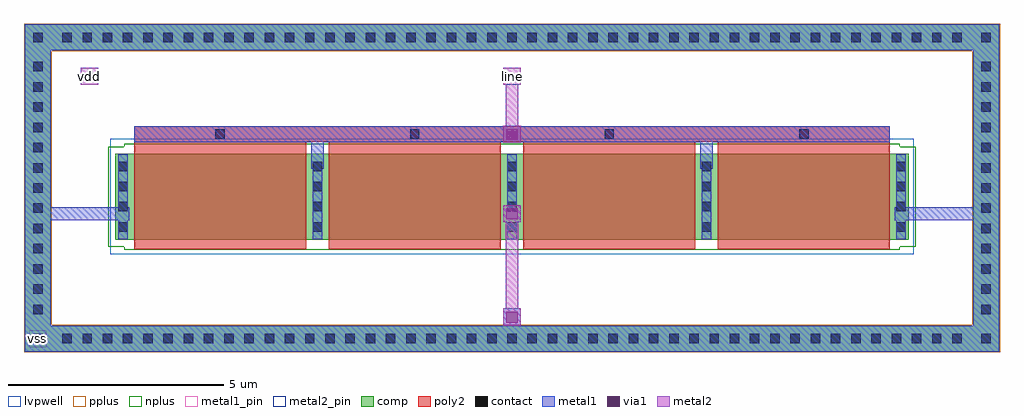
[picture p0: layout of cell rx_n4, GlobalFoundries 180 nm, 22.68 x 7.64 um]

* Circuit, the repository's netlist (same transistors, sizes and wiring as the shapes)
* NGSPICE file created from rx_n4.ext - technology: gf180mcuD

.subckt n_w2_l4_f4 a_n52_n200# a_852_n200# a_n852_n244# a_n956_n200# a_52_n244# a_n1756_n244#
+ a_1756_n200# a_n1844_n200# a_956_n244# VSUBS
X0 a_852_n200# a_52_n244# a_n52_n200# VSUBS nfet_03v3 ad=0.52p pd=2.52u as=0.52p ps=2.52u w=2u l=4u
X1 a_1756_n200# a_956_n244# a_852_n200# VSUBS nfet_03v3 ad=0.88p pd=4.88u as=0.52p ps=2.52u w=2u l=4u
X2 a_n956_n200# a_n1756_n244# a_n1844_n200# VSUBS nfet_03v3 ad=0.52p pd=2.52u as=0.88p ps=4.88u w=2u l=4u
X3 a_n52_n200# a_n852_n244# a_n956_n200# VSUBS nfet_03v3 ad=0.52p pd=2.52u as=0.52p ps=2.52u w=2u l=4u
.ends

.subckt rx_n4 line vdd vss
XD vss line line line line line vss vss line vss n_w2_l4_f4
.ends

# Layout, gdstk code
import gdstk
lib = gdstk.Library(unit=1e-6, precision=1e-09)
def R(c, l, rs):  # rectangles x0, y0, x1, y1
    for r in rs: c.add(gdstk.rectangle(r[:2], r[2:], *l))
def A(c, l, x, y, w, h, nx, ny, dx, dy):  # array of equal rectangles
    R(c, l, [(x+i*dx, y+j*dy, x+i*dx+w, y+j*dy+h) for i in range(nx) for j in range(ny)])
comp = (22, 0)
poly2 = (30, 0)
pplus = (31, 0)
nplus = (32, 0)
contact = (33, 0)
metal1 = (34, 0)
metal1_pin = (34, 10)
via1 = (35, 0)
metal2 = (36, 0)
metal2_pin = (36, 10)
lvpwell = (204, 0)

n_w2_l4_f4 = lib.new_cell('n_w2_l4_f4')
R(n_w2_l4_f4, comp, [(-9.22,-1,9.22,1)])
A(n_w2_l4_f4, poly2, -8.78, -1.22, 4, 2.44, 4, 1, 4.52, 0)
R(n_w2_l4_f4, nplus, [(-9.01,-1.23,9.01,-1.16), (-9.38,-1.16,9.38,1.16), (-9.01,1.16,9.01,1.23)])
A(n_w2_l4_f4, contact, -9.15, -0.815, 0.22, 0.22, 5, 4, 4.52, 0.47)
A(n_w2_l4_f4, metal1, -9.155, -0.99, 0.23, 1.98, 5, 1, 4.52, 0)
R(n_w2_l4_f4, lvpwell, [(-9.34,-1.34,9.34,1.34)])

rx_n4 = lib.new_cell('rx_n4')
R(rx_n4, comp, [(0,0,22.64,0.6), (0,0.6,0.6,7), (22.04,0.6,22.64,7), (0,7,22.64,7.6)])
A(rx_n4, poly2, 2.54, 4.6, 4, 0.27, 4, 1, 4.52, 0)
R(rx_n4, poly2, [(2.54,4.87,20.1,5.23)])
R(rx_n4, pplus, [(-0.02,-0.02,22.66,0.62), (-0.02,0.62,0.62,6.98), (22.02,0.62,22.66,6.98), (-0.02,6.98,22.66,7.62)])
A(rx_n4, contact, 0.87, 0.19, 0.22, 0.22, 45, 2, 0.47, 7)
A(rx_n4, contact, 0.19, 0.87, 0.22, 0.22, 1, 13, 0, 0.47)
A(rx_n4, contact, 22.23, 0.87, 0.22, 0.22, 1, 13, 0, 0.47)
A(rx_n4, contact, 4.43, 4.94, 0.22, 0.22, 4, 1, 4.52, 0)
R(rx_n4, contact, [(0.19,0.19,0.41,0.41), (22.23,0.19,22.45,0.41), (0.19,7.19,0.41,7.41), (22.23,7.19,22.45,7.41)])
R(rx_n4, metal1, [(0,0,22.64,0.6), (0,0.6,0.6,3.05), (11.12,0.6,11.52,1), (22.04,0.6,22.64,3.05), (11.12,3,11.52,3.4), (0,3.05,2.43,3.35), (20.21,3.05,22.64,3.35), (0,3.35,0.6,7), (22.04,3.35,22.64,7), (6.65,4.25,6.95,4.86), (15.69,4.25,15.99,4.86), (11.12,4.85,11.52,4.86), (2.54,4.86,20.1,5.24), (11.12,5.24,11.52,5.25), (0,7,22.64,7.6)])
R(rx_n4, metal1_pin, [(0.1,0.1,0.5,0.5)])
R(rx_n4, via1, [(11.19,0.67,11.45,0.93), (11.19,3.07,11.45,3.33), (11.19,4.92,11.45,5.18)])
R(rx_n4, metal2, [(11.12,0.6,11.52,1), (11.17,1,11.47,3), (11.12,3,11.52,3.4), (11.12,4.85,11.52,5.25), (11.17,5.25,11.47,6.2), (1.3,6.2,1.7,6.6), (11.12,6.2,11.52,6.6)])
R(rx_n4, metal2_pin, [(1.3,6.2,1.7,6.6), (11.12,6.2,11.52,6.6)])
rx_n4.add(gdstk.Reference(n_w2_l4_f4, (11.32,3.6)))
rx_n4.add(gdstk.Label('line', (11.32,6.4), layer=36, texttype=10))
rx_n4.add(gdstk.Label('vdd', (1.5,6.4), layer=36, texttype=10))
rx_n4.add(gdstk.Label('vss', (0.3,0.3), layer=34, texttype=10))

lib.write_gds('rx_n4.gds')
